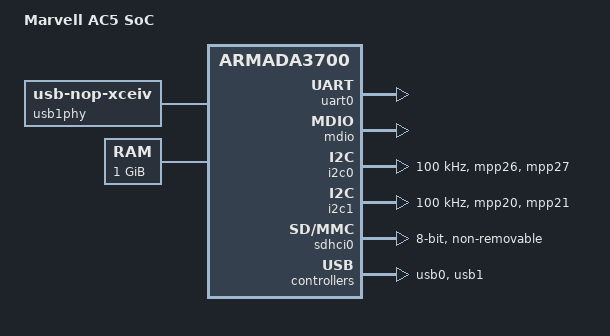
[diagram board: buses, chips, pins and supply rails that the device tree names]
// SPDX-License-Identifier: (GPL-2.0+ OR MIT)
/*
 * Device Tree For AC5.
 *
 * Copyright (C) 2021 Marvell
 *
 */

/dts-v1/;

#include <dt-bindings/gpio/gpio.h>
#include <dt-bindings/interrupt-controller/arm-gic.h>

/ {
	model = "Marvell AC5 SoC";
	compatible = "marvell,ac5", "marvell,armada3700";
	interrupt-parent = <&gic>;
	#address-cells = <2>;
	#size-cells = <2>;

	aliases {
		serial0 = &uart0;
		spiflash0 = &spiflash0;
		gpio0 = &gpio0;
		gpio1 = &gpio1;
		ethernet0 = &eth0;
		ethernet1 = &eth1;
	};

	psci {
		compatible = "arm,psci-0.2";
		method = "smc";
	};

	timer {
		compatible = "arm,armv8-timer";
		interrupts = <GIC_PPI 9 IRQ_TYPE_LEVEL_HIGH>,
				 <GIC_PPI 8 IRQ_TYPE_LEVEL_HIGH>,
				 <GIC_PPI 10 IRQ_TYPE_LEVEL_HIGH>,
				 <GIC_PPI 7 IRQ_TYPE_LEVEL_HIGH>;
		clock-frequency = <25000000>;
	};

	pmu {
		compatible = "arm,armv8-pmuv3";
		interrupts = <GIC_PPI 12 IRQ_TYPE_LEVEL_HIGH>;
	};

	soc {
		compatible = "simple-bus";
		#address-cells = <2>;
		#size-cells = <2>;
		ranges;
		dma-ranges;

		internal-regs@7f000000 {
			#address-cells = <1>;
			#size-cells = <1>;
			compatible = "simple-bus";
			/* 16M internal register @ 0x7f00_0000 */
			ranges = <0x0 0x0 0x7f000000 0x1000000>;
			dma-coherent;

			uart0: serial@12000 {
				compatible = "snps,dw-apb-uart";
				reg = <0x12000 0x100>;
				reg-shift = <2>;
				interrupts = <GIC_SPI 83 IRQ_TYPE_LEVEL_HIGH>;
				reg-io-width = <1>;
				clock-frequency = <328000000>;
				status = "okay";
			};

			mdio: mdio@20000 {
				#address-cells = <1>;
				#size-cells = <0>;
				compatible = "marvell,orion-mdio";
				reg = <0x22004 0x4>;
				clocks = <&core_clock>;
			};

			i2c0: i2c@11000{
				compatible = "marvell,mv78230-i2c";
				reg = <0x11000 0x20>;

				clocks = <&core_clock>;
				clock-names = "core";
				interrupts = <GIC_SPI 87 IRQ_TYPE_LEVEL_HIGH>;
				clock-frequency=<100000>;
				status="okay";

				pinctrl-names = "default", "gpio";
				pinctrl-0 = <&i2c0_pins>;
				pinctrl-1 = <&i2c0_gpio>;
				scl_gpio = <&gpio0 26 GPIO_ACTIVE_HIGH>;
				sda_gpio = <&gpio0 27 GPIO_ACTIVE_HIGH>;
			};

			i2c1: i2c@11100{
				compatible = "marvell,mv78230-i2c";
				reg = <0x11100 0x20>;

				clocks = <&core_clock>;
				clock-names = "core";
				interrupts = <GIC_SPI 88 IRQ_TYPE_LEVEL_HIGH>;
				clock-frequency=<100000>;
				status="okay";

				pinctrl-names = "default", "gpio";
				pinctrl-0 = <&i2c1_pins>;
				pinctrl-1 = <&i2c1_gpio>;
				scl_gpio = <&gpio0 20 GPIO_ACTIVE_HIGH>;
				sda_gpio = <&gpio0 21 GPIO_ACTIVE_HIGH>;
			};

			system-controller@18000 {
				compatible = "syscon", "simple-mfd";
				reg = <0x18000 0x200>;

				gpio0: gpio@100 {
					compatible = "marvell,armada-8k-gpio";
					offset = <0x100>;
					ngpios = <32>;
					gpio-controller;
					#gpio-cells = <2>;
					gpio-ranges = <&pinctrl0 0 0 32>;
					#pwm-cells = <2>;
				};

				gpio1: gpio@140 {
					compatible = "marvell,armada-8k-gpio";
					offset = <0x140>;
					ngpios = <14>;
					gpio-controller;
					#gpio-cells = <2>;
					gpio-ranges = <&pinctrl0 0 32 14>;
					#pwm-cells = <2>;
				};
			};
		};

		mmc_dma: mmc-dma-peripherals@80500000 {
				compatible = "simple-bus";
				#address-cells = <0x2>;
				#size-cells = <0x2>;
				ranges;
				dma-coherent;

				sdhci0: sdhci@805c0000 {
					compatible = "marvell,ac5-sdhci",
						     "marvell,armada-ap806-sdhci";
					reg = <0x0 0x805c0000 0x0 0x300>;
					reg-names = "ctrl", "decoder";
					interrupts = <GIC_SPI 92 IRQ_TYPE_LEVEL_HIGH>;
					clocks = <&core_clock>;
					clock-names = "core";
					status = "okay";
					bus-width = <8>;
					/*marvell,xenon-phy-slow-mode;*/
					non-removable;
					mmc-ddr-1_8v;
					mmc-hs200-1_8v;
					mmc-hs400-1_8v;
				};
		};

		/*
		 * Dedicated section for devices behind 32bit controllers so we
		 * can configure specific DMA mapping for them
		 */
		behind-32bit-controller@7f000000 {
			compatible = "simple-bus";
			#address-cells = <0x2>;
			#size-cells = <0x2>;
			ranges = <0x0 0x0 0x0 0x7f000000 0x0 0x1000000>;
			/* Host phy ram starts at 0x200M */
			dma-ranges = <0x0 0x0 0x2 0x0 0x1 0x0>;
			dma-coherent;

			eth0: ethernet@20000 {
				compatible = "marvell,armada-ac5-neta";
				reg = <0x0 0x20000 0x0 0x4000>;
				interrupts = <GIC_SPI 45 IRQ_TYPE_LEVEL_HIGH>;
				clocks = <&core_clock>;
				status = "disabled";
				phy-mode = "sgmii";
			};

			eth1: ethernet@24000 {
				compatible = "marvell,armada-ac5-neta";
				reg = <0x0 0x24000 0x0 0x4000>;
				interrupts = <GIC_SPI 55 IRQ_TYPE_LEVEL_HIGH>;
				clocks = <&core_clock>;
				status = "disabled";
				phy-mode = "sgmii";
			};

			/* A dummy entry used for chipidea phy init */
			usb1phy: usbphy {
				compatible = "usb-nop-xceiv";
				#phy-cells = <0>;
			};

			/* USB0 is a host USB */
			usb0: usb@80000 {
				compatible = "marvell,orion-ehci";
				reg = <0x0 0x80000 0x0 0x500>;
				interrupts = <GIC_SPI 67 IRQ_TYPE_LEVEL_HIGH>;
				status = "okay";
			};

			/* USB1 is a peripheral USB */
			usb1: usb@a0000 {
				reg = <0x0 0xa0000 0x0 0x500>;
				interrupts = <GIC_SPI 69 IRQ_TYPE_LEVEL_HIGH>;
				status = "okay";
			};
		};

		system-controller@80020100 {
			compatible = "syscon", "simple-mfd";
			reg = <0 0x80020100 0 0x20>;

			pinctrl0: pinctrl@80020100 {
				compatible = "marvell,ac5-pinctrl";

				i2c0_pins: i2c0-pins {
					marvell,pins = "mpp26", "mpp27";
					marvell,function = "i2c0";
				};

				i2c0_gpio: i2c0-gpio-pins {
					marvell,pins = "mpp26", "mpp27";
					marvell,function = "gpio";
				};

				i2c1_pins: i2c1-pins {
					marvell,pins = "mpp20", "mpp21";
					marvell,function = "i2c1";
				};

				i2c1_gpio: i2c1-gpio-pins {
					marvell,pins = "mpp20", "mpp21";
					marvell,function = "i2c1";
				};
			};
		};

		core_clock: core_clock@0 {
			compatible = "fixed-clock";
			#clock-cells = <0>;
			clock-frequency = <400000000>;
		};

		axi_clock: axi_clock@0 {
			compatible = "fixed-clock";
			#clock-cells = <0>;
			clock-frequency = <325000000>;
		};

		spi_clock: spi_clock@0 {
			compatible = "fixed-clock";
			#clock-cells = <0>;
			clock-frequency = <200000000>;
		};

		spi0: spi@805a0000 {
			compatible = "marvell,armada-3700-spi";
			reg = <0x0 0x805a0000 0x0 0x50>;
			#address-cells = <0x1>;
			#size-cells = <0x0>;
			clocks = <&spi_clock>;
			interrupts = <GIC_SPI 90 IRQ_TYPE_LEVEL_HIGH>;
			num-cs = <1>;
			status = "disabled";
		};

		spi@805a8000 {
			compatible = "marvell,armada-3700-spi";
			reg = <0x0 0x805a8000 0x0 0x50>;
			#address-cells = <0x1>;
			#size-cells = <0x0>;
			clocks = <&spi_clock>;
			interrupts = <GIC_SPI 91 IRQ_TYPE_LEVEL_HIGH>;
			num-cs = <1>;
			status = "disabled";
		};
	};

	gic: interrupt-controller@80600000 {
		compatible = "arm,gic-v3";
		#interrupt-cells = <3>;
		interrupt-controller;
		/*#redistributor-regions = <1>;*/
		redistributor-stride = <0x0 0x20000>;	// 128kB stride
		reg = <0x0 0x80600000 0x0 0x10000>, /* GICD */
			  <0x0 0x80660000 0x0 0x40000>; /* GICR */
		interrupts = <GIC_PPI 6 IRQ_TYPE_LEVEL_HIGH>;
	};

	cpus {
		#address-cells = <2>;
		#size-cells = <0>;

		cpu-map {
			cluster0 {
				core0 {
					cpu = <&CPU0>;
				};
				core1 {
					cpu = <&CPU1>;
				};
			};
		};

		CPU0:cpu@0 {
			device_type = "cpu";
			compatible = "arm,armv8";
			reg = <0x0 0x0>;
			enable-method = "psci";
			next-level-cache = <&L2_0>;
		};

		CPU1:cpu@1 {
			device_type = "cpu";
			compatible = "arm,armv8";
			reg = <0x0 0x100>;
			enable-method = "psci";
			next-level-cache = <&L2_0>;
		};

		L2_0: l2-cache0 {
			compatible = "cache";
		};
	};

	memory@0 {
		device_type = "memory";
		reg = <0x2 0x00000000 0x0 0x40000000>;
		// linux,usable-memory = <0x2 0x00000000 0x0 0x80000000>;
	};

};
